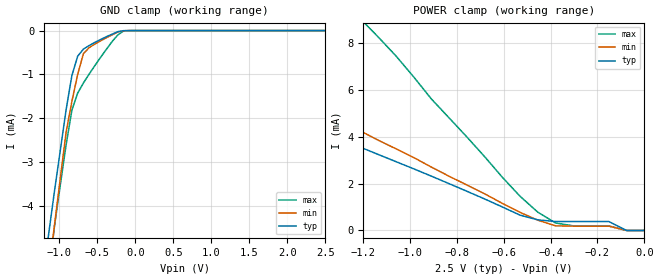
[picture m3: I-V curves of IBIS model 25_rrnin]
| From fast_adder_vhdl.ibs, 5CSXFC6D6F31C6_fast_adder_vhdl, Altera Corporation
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[Model]   25_rrnin
Model_type  Input
Polarity   Non-Inverting
Vinl   = 0.700
Vinh   = 1.700
C_comp 4.66pF   4.66pF   4.66pF
[Temperature Range] 25   85   0
[Voltage Range] 2.500   2.325   2.750
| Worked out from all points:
|   GND clamp passes 1 mA (typ) near -0.83 V on its own axis
|   POWER clamp passes 1 mA (typ) near -0.61 V on its own axis
[GND Clamp]
| voltage   I (typ)   I (min)   I (max)
-2.5V     -25.38mA   -25.72mA   -28.14mA
-1.136V   -4.602mA   -5.468mA   -5.533mA
-1.061V   -3.635mA   -4.406mA   -4.435mA
-909.1mV  -1.798mA   -2.309mA   -2.6mA
-833.3mV  -1.022mA   -1.613mA   -1.811mA
-757.6mV  -584.1uA   -1.001mA   -1.426mA
-681.8mV  -421.4uA   -525.6uA   -1.194mA
-530.3mV  -269uA     -306.1uA   -796uA
-303mV    -80.61uA   -95.69uA   -246.7uA
-227.3mV  -23.88uA   -30.25uA   -96.37uA
-151.5mV  -2.012uA   -3.884uA   -6.485uA
2.5V      0A         0A         0A
[POWER Clamp]
| voltage   I (typ)   I (min)   I (max)
-2.5V     8.703mA    11.15mA    26.46mA
-2.424V   8.389mA    10.62mA    25.51mA
-2.046V   6.87mA     8.533mA    20.31mA
-1.97V    6.569mA    8.224mA    19.24mA
-1.212V   3.556mA    4.25mA     9.041mA
-1.136V   3.248mA    3.858mA    8.267mA
-606.1mV  1.004mA    1.157mA    2.272mA
-454.6mV  453.2uA    439.6uA    780.7uA
-378.8mV  381.7uA    198uA      319.2uA
-151.5mV  381.7uA    185.9uA    192.1uA
-75.76mV  0A         0A         0A
0V        0A         0A         0A
